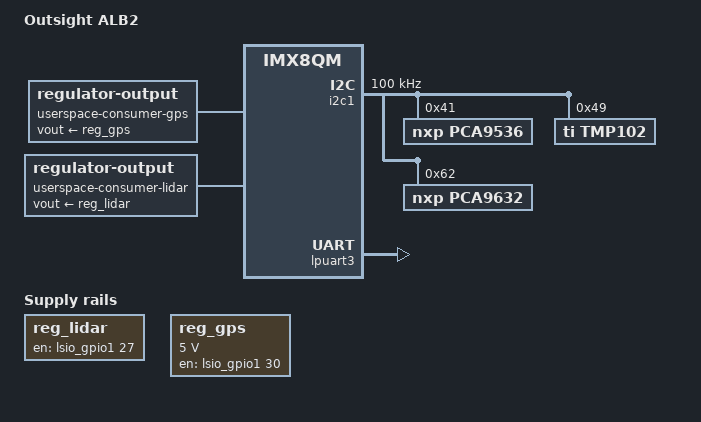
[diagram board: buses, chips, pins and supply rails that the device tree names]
// SPDX-License-Identifier: (GPL-2.0-or-later OR MIT)
/*
 * Outsight ALB2 (Augmented LiDAR Box v2) on iWave iWG27M i.MX8QM SoM
 *
 * Copyright (c) 2026 Outsight
 */

/dts-v1/;

#include "imx8qm-iwg27m.dtsi"

/ {
	model = "Outsight ALB2";
	compatible = "outsight,imx8qm-alb2", "iwave,imx8qm-iwg27m", "fsl,imx8qm";

	/*
	 * Lidar power on/off only. The 12V/24V select (LIDAR_24V_EN) is left
	 * unclaimed so hwtools can drive it through the GPIO chardev.
	 */
	reg_lidar: regulator-lidar {
		compatible = "regulator-fixed";
		pinctrl-names = "default";
		pinctrl-0 = <&pinctrl_reg_lidar>;
		regulator-name = "LIDAR";
		gpio = <&lsio_gpio1 27 GPIO_ACTIVE_HIGH>;
		enable-active-high;
		startup-delay-us = <100000>;
	};

	reg_gps: regulator-gps {
		compatible = "regulator-fixed";
		pinctrl-names = "default";
		pinctrl-0 = <&pinctrl_reg_gps>;
		regulator-name = "GPS";
		regulator-min-microvolt = <5000000>;
		regulator-max-microvolt = <5000000>;
		gpio = <&lsio_gpio1 30 GPIO_ACTIVE_HIGH>;
		enable-active-high;
	};

	/*
	 * hwtools drives these through the state attribute of
	 * /sys/bus/platform/devices/userspace-consumer-<name>: keep node names.
	 */
	userspace-consumer-gps {
		compatible = "regulator-output";
		vout-supply = <&reg_gps>;
	};

	userspace-consumer-lidar {
		compatible = "regulator-output";
		vout-supply = <&reg_lidar>;
	};
};

&i2c1 {
	#address-cells = <1>;
	#size-cells = <0>;
	pinctrl-names = "default";
	pinctrl-0 = <&pinctrl_lpi2c1>;
	clock-frequency = <100000>;
	status = "okay";

	pca9536: gpio@41 {
		compatible = "nxp,pca9536";
		reg = <0x41>;
		gpio-controller;
		#gpio-cells = <2>;
		gpio-line-names = "PPS_EN", "PPS_SEL", "", "";

		pps-en-hog {
			gpio-hog;
			gpios = <0 GPIO_ACTIVE_HIGH>;
			output-low;
			line-name = "PPS_EN";
		};
	};

	tmp102: temperature-sensor@49 {
		compatible = "ti,tmp102";
		reg = <0x49>;
	};

	/* LED names (pca963x:<label>) are used by hwtools. */
	pca9632: led-controller@62 {
		compatible = "nxp,pca9632";
		reg = <0x62>;
		#address-cells = <1>;
		#size-cells = <0>;

		led@0 {
			reg = <0>;
			label = "red";
			linux,default-trigger = "none";
		};

		led@1 {
			reg = <1>;
			label = "blue";
			linux,default-trigger = "none";
		};

		led@2 {
			reg = <2>;
			label = "green";
			linux,default-trigger = "none";
			default-state = "on";
		};

		led@3 {
			reg = <3>;
			label = "unused";
			linux,default-trigger = "none";
		};
	};
};

&lpuart3 {
	pinctrl-names = "default";
	pinctrl-0 = <&pinctrl_lpuart3>;
	status = "okay";
};

&iomuxc {
	pinctrl_lpi2c1: lpi2c1grp {
		fsl,pins = <
			IMX8QM_GPT0_CLK_DMA_I2C1_SCL				0xc600004c
			IMX8QM_GPT0_CAPTURE_DMA_I2C1_SDA			0xc600004c
		>;
	};

	pinctrl_lpuart3: lpuart3grp {
		fsl,pins = <
			IMX8QM_M41_GPIO0_00_DMA_UART3_RX			0x06000020
			IMX8QM_M41_GPIO0_01_DMA_UART3_TX			0x06000020
		>;
	};

	pinctrl_reg_gps: reggpsgrp {
		fsl,pins = <
			IMX8QM_MIPI_CSI1_GPIO0_00_LSIO_GPIO1_IO30		0x00000021
		>;
	};

	pinctrl_reg_lidar: reglidargrp {
		fsl,pins = <
			IMX8QM_MIPI_CSI0_GPIO0_00_LSIO_GPIO1_IO27		0x00000021
			/* SMARC GPIO7: the vendor tree muxed SIM0_CLK (GPIO6) here */
			IMX8QM_SIM0_RST_LSIO_GPIO0_IO01				0x00000021
		>;
	};
};

&lsio_gpio0 {
	gpio-line-names = "", "LIDAR_24V_EN", "", "", "", "", "", "",
			  "", "", "", "", "", "", "", "",
			  "", "", "", "", "", "", "", "",
			  "", "", "", "", "", "", "", "";
};
